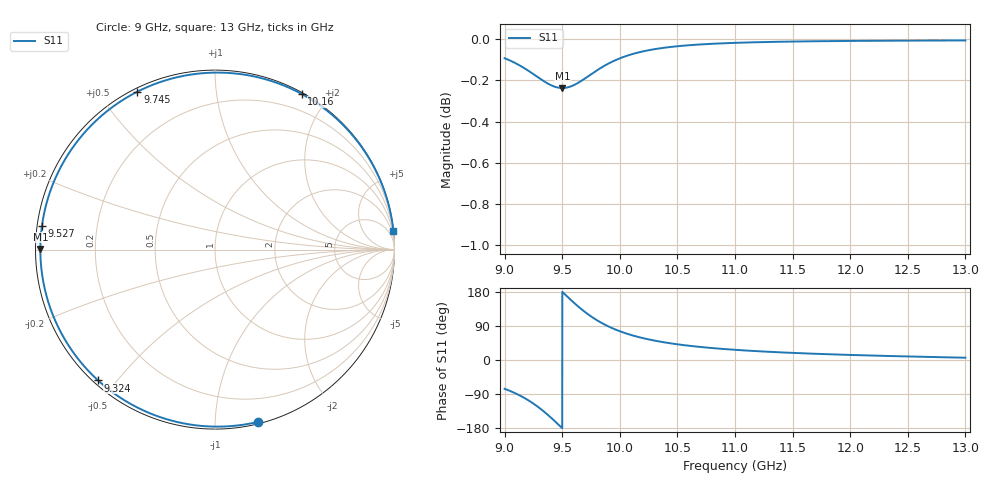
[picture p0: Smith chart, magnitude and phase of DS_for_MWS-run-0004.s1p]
! TOUCHSTONE file generated by CST DESIGN STUDIO
! Date and time: Tue Feb  4 12:32:08 2025
! Project name: C:\Work\MatlabApps\UnitCellOptimizationMatlab\CST\unitcell.cst
! Tree item: Tasks\Sweep1\SPara1\S-Parameters
! Header version: 2024
! Port assignment regex: !\s*Touchstone port\s*([0-9]+)\s*=\s*(CST MWS port|CST DES external port|CST DES block port)\s*(.+)\s* \(\"(.*)\"\)(\s*mode\s*([0-9]+))?.*
! Touchstone port assignment:
! Touchstone port 1 = CST DES external port 1 ("")
# GHz S MA R 50
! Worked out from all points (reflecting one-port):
!   4001 points, 9 GHz to 13 GHz, reference 50 ohm
!   lowest |S11| = -0.2 dB at 9.501 GHz (marker M1), VSWR 73.29, Z = 0.682 + j0.0956 ohm
!   phase of S11 starts at -76 deg and turns -278 deg over the sweep
!   S11 on the Smith chart (normalised r, x): 9 GHz: 0.01, -1.28; 9.324 GHz: 0.01, -0.45; 9.527 GHz: 0.01, +0.07; 9.745 GHz: 0.01, +0.62; 10.16 GHz: 0.01, +1.70; 13 GHz: 0, +19
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9  0.9894 -76.0
9.085  0.987 -86.7
9.186  0.9834 -102.7
9.258  0.9803 -116.7
9.324  0.9775 -131.8
9.371  0.9757 -143.7
9.42  0.9741 -157.0
9.461  0.9733 -168.6
9.5  0.9731 -179.9
9.501  0.9731 179.8
9.527  0.9732 172.2
9.581  0.9741 156.8
9.641  0.976 140.6
9.692  0.9781 128.0
9.745  0.9803 116.2
9.797  0.9826 105.8
9.855  0.9848 95.7
9.927  0.9873 85.0
10  0.9894 75.9
10.159  0.9926 60.9
10.314  0.9946 50.4
10.5  0.9961 41.4
10.722  0.9972 33.7
11  0.998 26.9
11.5  0.9987 18.7
12  0.9991 13.4
12.5  0.9992 9.3
13  0.9993 6.0
